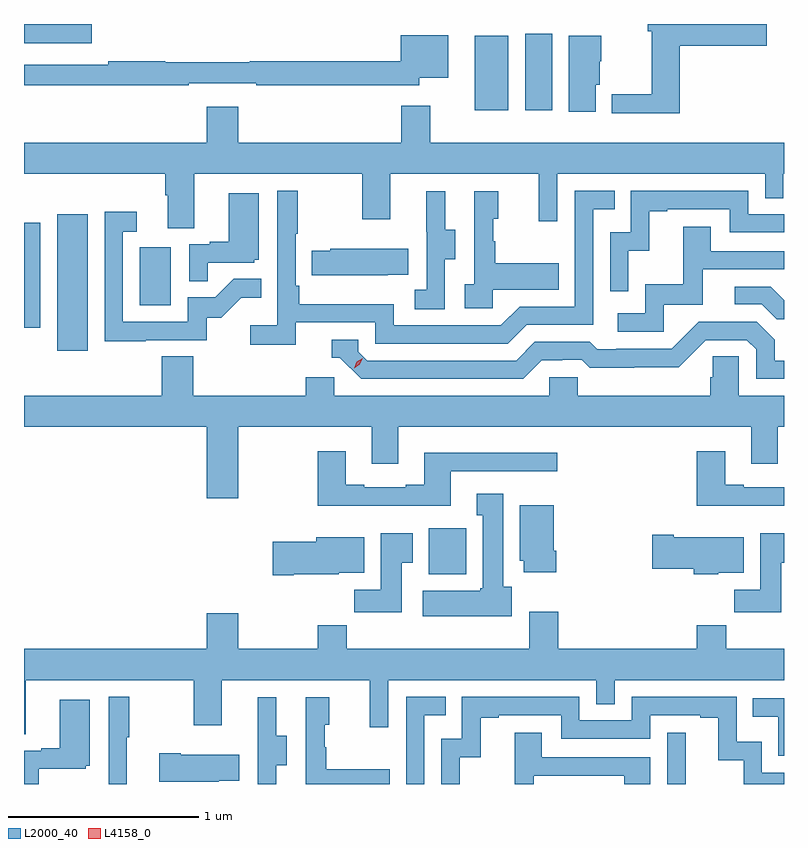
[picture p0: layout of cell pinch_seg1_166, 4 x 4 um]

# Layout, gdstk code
import gdstk
lib = gdstk.Library(unit=1e-6, precision=1e-09)
def R(c, l, rs):  # rectangles x0, y0, x1, y1
    for r in rs: c.add(gdstk.rectangle(r[:2], r[2:], *l))
def P(c, l, *ps):  # polygons
    for p in ps: c.add(gdstk.Polygon(p, *l))
L2000_40 = (2000, 40)
L4158_0 = (4158, 0)

pinch_seg1_166 = lib.new_cell('pinch_seg1_166')
R(pinch_seg1_166, L2000_40, [(1138.458,552.517,1138.555,552.787), (1137.203,553.622,1137.4,553.864), (1135.247,554.796,1135.408,555.517), (1135.073,554.919,1135.158,555.47), (1135.682,555.036,1135.846,555.343), (1137.446,556.064,1137.622,556.456), (1137.71,556.064,1137.853,556.465), (1135.073,556.415,1135.429,556.517)])
P(pinch_seg1_166, L2000_40, [(1138.523,556.403),(1138.981,556.403),(1138.981,556.517),(1138.357,556.517),(1138.357,556.478),(1138.376,556.478),(1138.376,556.148),(1138.167,556.148),(1138.167,556.046),(1138.523,556.046)],
  [(1135.94,556.206),(1136.296,556.206),(1136.296,556.194),(1137.154,556.194),(1137.154,556.235),(1137.307,556.235),(1137.307,556.459),(1137.056,556.459),(1137.056,556.322),(1136.26,556.322),(1136.26,556.315),(1135.816,556.315),(1135.816,556.322),(1135.516,556.322),(1135.516,556.302),(1135.073,556.302),(1135.073,556.194),(1135.94,556.194)],
  [(1138.081,556.197),(1138.102,556.197),(1138.102,556.32),(1138.111,556.32),(1138.111,556.456),(1137.941,556.456),(1137.941,556.056),(1138.081,556.056)],
  [(1135.969,555.728),(1136.854,555.728),(1136.854,555.489),(1137.001,555.489),(1137.001,555.728),(1137.782,555.728),(1137.782,555.48),(1137.879,555.48),(1137.879,555.728),(1138.974,555.728),(1138.974,555.601),(1139.07,555.601),(1139.07,555.728),(1139.073,555.728),(1139.073,555.892),(1137.211,555.892),(1137.211,556.087),(1137.059,556.087),(1137.059,555.892),(1136.2,555.892),(1136.2,556.081),(1136.036,556.081),(1136.036,555.892),(1135.073,555.892),(1135.073,555.728),(1135.817,555.728),(1135.817,555.616),(1135.829,555.616),(1135.829,555.442),(1135.969,555.442)],
  [(1136.504,554.946),(1136.922,554.946),(1136.922,554.835),(1137.619,554.835),(1137.718,554.934),(1138.068,554.934),(1138.068,555.543),(1138.181,555.543),(1138.181,555.639),(1137.972,555.639),(1137.972,555.03),(1137.681,555.03),(1137.582,554.931),(1137.018,554.931),(1137.018,555.043),(1136.522,555.043),(1136.522,555.139),(1136.502,555.139),(1136.502,555.412),(1136.515,555.412),(1136.515,555.64),(1136.406,555.64),(1136.406,554.932),(1136.265,554.932),(1136.265,554.83),(1136.504,554.83)],
  [(1138.254,555.323),(1138.364,555.323),(1138.364,555.531),(1138.459,555.531),(1138.459,555.543),(1138.788,555.543),(1138.788,555.42),(1139.073,555.42),(1139.073,555.516),(1138.884,555.516),(1138.884,555.639),(1138.266,555.639),(1138.266,555.42),(1138.158,555.42),(1138.158,555.111),(1138.254,555.111)],
  [(1137.54,555.119),(1137.887,555.119),(1137.887,555.259),(1137.553,555.259),(1137.553,555.374),(1137.543,555.374),(1137.543,555.492),(1137.568,555.492),(1137.568,555.637),(1137.444,555.637),(1137.444,555.146),(1137.393,555.146),(1137.393,555.021),(1137.54,555.021)],
  [(1137.288,555.28),(1137.343,555.28),(1137.343,555.435),(1137.289,555.435),(1137.289,555.637),(1137.191,555.637),(1137.191,555.423),(1137.192,555.423),(1137.192,555.119),(1137.129,555.119),(1137.129,555.016),(1137.288,555.016)],
  [(1136.039,555.261),(1136.286,555.261),(1136.286,555.276),(1136.308,555.276),(1136.308,555.625),(1136.15,555.625),(1136.15,555.37),(1136.051,555.37),(1136.051,555.357),(1135.944,555.357),(1135.944,555.163),(1136.039,555.163)],
  [(1135.715,554.853),(1136.034,554.853),(1136.034,554.97),(1136.11,554.97),(1136.217,555.077),(1136.321,555.077),(1136.321,555.176),(1136.177,555.176),(1136.079,555.078),(1135.935,555.078),(1135.935,554.949),(1135.593,554.949),(1135.593,555.423),(1135.666,555.423),(1135.666,555.529),(1135.497,555.529),(1135.497,554.848),(1135.715,554.848)],
  [(1138.44,555.039),(1138.645,555.039),(1138.645,555.225),(1139.073,555.225),(1139.073,555.321),(1138.687,555.321),(1138.687,555.451),(1138.543,555.451),(1138.543,555.148),(1138.344,555.148),(1138.344,554.994),(1138.197,554.994),(1138.197,554.898),(1138.44,554.898)],
  [(1136.987,555.197),(1137.095,555.197),(1137.095,555.334),(1136.685,555.334),(1136.685,555.324),(1136.587,555.324),(1136.587,555.194),(1136.987,555.194)],
  [(1139.073,555.064),(1139.002,555.135),(1138.815,555.135),(1138.815,555.042),(1138.956,555.042),(1139.036,554.962),(1139.073,554.962)],
  [(1137.799,554.748),(1137.906,554.748),(1137.906,554.751),(1138.009,554.751),(1138.051,554.709),(1138.284,554.709),(1138.284,554.711),(1138.52,554.711),(1138.662,554.853),(1138.878,554.853),(1138.926,554.805),(1138.926,554.649),(1139.073,554.649),(1139.073,554.745),(1139.023,554.745),(1139.023,554.855),(1138.929,554.949),(1138.623,554.949),(1138.482,554.808),(1138.189,554.808),(1138.189,554.805),(1138.09,554.805),(1138.051,554.844),(1137.762,554.844),(1137.663,554.745),(1136.88,554.745),(1136.832,554.793),(1136.832,554.856),(1136.693,554.856),(1136.693,554.76),(1136.736,554.76),(1136.847,554.649),(1137.7,554.649)],
  [(1136.2,554.396),(1136.903,554.396),(1136.903,554.202),(1137.043,554.202),(1137.043,554.396),(1138.901,554.396),(1138.901,554.202),(1139.041,554.202),(1139.041,554.396),(1139.073,554.396),(1139.073,554.56),(1138.836,554.56),(1138.836,554.768),(1138.699,554.768),(1138.699,554.658),(1138.685,554.658),(1138.685,554.56),(1137.987,554.56),(1137.987,554.658),(1137.837,554.658),(1137.837,554.56),(1136.706,554.56),(1136.706,554.658),(1136.555,554.658),(1136.555,554.56),(1135.964,554.56),(1135.964,554.768),(1135.799,554.768),(1135.799,554.56),(1135.073,554.56),(1135.073,554.396),(1136.036,554.396),(1136.036,554.022),(1136.2,554.022)],
  [(1137.319,554.163),(1137.88,554.163),(1137.88,554.26),(1137.179,554.26),(1137.179,554.092),(1137.083,554.092),(1137.083,554.079),(1136.863,554.079),(1136.863,554.092),(1136.767,554.092),(1136.767,554.269),(1136.62,554.269),(1136.62,553.982),(1137.319,553.982)],
  [(1139.073,554.079),(1138.861,554.079),(1138.861,554.092),(1138.765,554.092),(1138.765,554.269),(1138.613,554.269),(1138.613,553.982),(1139.073,553.982)],
  [(1137.64,553.554),(1137.595,553.554),(1137.595,554.044),(1137.455,554.044),(1137.455,553.931),(1137.488,553.931),(1137.488,553.548),(1137.475,553.548),(1137.475,553.534),(1137.171,553.534),(1137.171,553.4),(1137.64,553.4)],
  [(1137.875,553.744),(1137.862,553.744),(1137.862,553.984),(1137.683,553.984),(1137.683,553.692),(1137.704,553.692),(1137.704,553.632),(1137.875,553.632)],
  [(1139.059,553.681),(1139.073,553.681),(1139.073,553.837),(1138.949,553.837),(1138.949,553.54),(1138.81,553.54),(1138.81,553.422),(1139.059,553.422)],
  [(1137.061,553.681),(1137.118,553.681),(1137.118,553.837),(1136.951,553.837),(1136.951,553.54),(1136.812,553.54),(1136.812,553.422),(1137.061,553.422)],
  [(1138.728,553.628),(1138.861,553.628),(1138.861,553.816),(1138.492,553.816),(1138.492,553.829),(1138.38,553.829),(1138.38,553.651),(1138.598,553.651),(1138.598,553.622),(1138.728,553.622)],
  [(1136.494,553.622),(1136.73,553.622),(1136.73,553.628),(1136.863,553.628),(1136.863,553.816),(1136.612,553.816),(1136.612,553.793),(1136.382,553.793),(1136.382,553.615),(1136.494,553.615)],
  [(1135.081,553.064),(1135.966,553.064),(1135.966,552.825),(1136.113,552.825),(1136.113,553.064),(1136.894,553.064),(1136.894,552.816),(1136.991,552.816),(1136.991,553.064),(1138.086,553.064),(1138.086,552.937),(1138.182,552.937),(1138.182,553.064),(1139.073,553.064),(1139.073,553.228),(1138.769,553.228),(1138.769,553.352),(1138.613,553.352),(1138.613,553.228),(1137.884,553.228),(1137.884,553.423),(1137.731,553.423),(1137.731,553.228),(1136.771,553.228),(1136.771,553.352),(1136.62,553.352),(1136.62,553.228),(1136.2,553.228),(1136.2,553.417),(1136.036,553.417),(1136.036,553.228),(1135.073,553.228),(1135.073,552.778),(1135.081,552.778)],
  [(1135.615,552.763),(1135.627,552.763),(1135.627,552.976),(1135.518,552.976),(1135.518,552.517),(1135.615,552.517)],
  [(1137.366,552.659),(1137.476,552.659),(1137.476,552.867),(1137.571,552.867),(1137.571,552.879),(1137.9,552.879),(1137.9,552.756),(1138.368,552.756),(1138.368,552.879),(1138.631,552.879),(1138.631,552.867),(1138.727,552.867),(1138.727,552.641),(1138.86,552.641),(1138.86,552.517),(1139.073,552.517),(1139.073,552.576),(1138.956,552.576),(1138.956,552.739),(1138.824,552.739),(1138.824,552.975),(1138.272,552.975),(1138.272,552.852),(1137.996,552.852),(1137.996,552.975),(1137.378,552.975),(1137.378,552.756),(1137.27,552.756),(1137.27,552.517),(1137.366,552.517)],
  [(1137.18,552.879),(1137.293,552.879),(1137.293,552.975),(1137.084,552.975),(1137.084,552.517),(1137.18,552.517)],
  [(1136.999,552.595),(1136.665,552.595),(1136.665,552.71),(1136.655,552.71),(1136.655,552.828),(1136.68,552.828),(1136.68,552.973),(1136.556,552.973),(1136.556,552.517),(1136.999,552.517)],
  [(1136.4,552.616),(1136.455,552.616),(1136.455,552.771),(1136.401,552.771),(1136.401,552.973),(1136.303,552.973),(1136.303,552.759),(1136.304,552.759),(1136.304,552.517),(1136.4,552.517)],
  [(1139.073,552.969),(1138.909,552.969),(1138.909,552.872),(1139.044,552.872),(1139.044,552.666),(1139.073,552.666)],
  [(1135.151,552.597),(1135.398,552.597),(1135.398,552.612),(1135.42,552.612),(1135.42,552.961),(1135.262,552.961),(1135.262,552.706),(1135.163,552.706),(1135.163,552.693),(1135.073,552.693),(1135.073,552.517),(1135.151,552.517)],
  [(1137.757,552.561),(1138.231,552.561),(1138.231,552.517),(1138.368,552.517),(1138.368,552.657),(1137.799,552.657),(1137.799,552.787),(1137.655,552.787),(1137.655,552.517),(1137.757,552.517)],
  [(1136.099,552.533),(1136.207,552.533),(1136.207,552.67),(1135.897,552.67),(1135.897,552.678),(1135.785,552.678),(1135.785,552.53),(1136.099,552.53)])
P(pinch_seg1_166, L4158_0, [(1136.81,554.706),(1136.81,554.706),(1136.825,554.739),(1136.855,554.759),(1136.856,554.759),(1136.856,554.759),(1136.841,554.726),(1136.811,554.706)])

lib.write_gds('pinch_seg1_166.gds')
